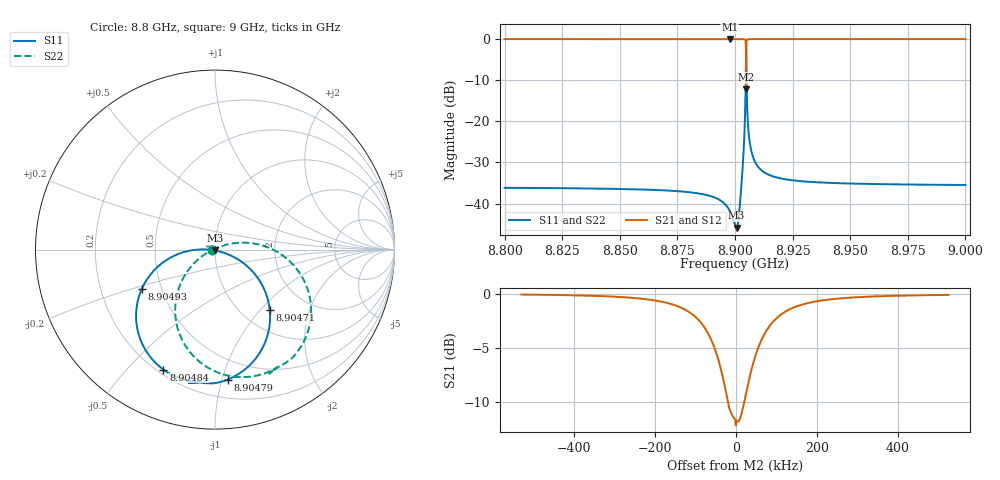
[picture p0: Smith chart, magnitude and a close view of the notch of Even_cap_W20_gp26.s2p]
! Sonnet Data File
! From: emgraph Version : 16.52
! From Project: Resonator2_cp_varyW
! Data is De-embedded
! Data File Written: 10/07/2017 09:25:24
!< HDATE 10/06/2017 17:18:21
!< MDATE 10/06/2017 17:18:21
!< PARAMS
!< gap = 26.0
!< Length = 400.0
!< Pwid1 = 2000.0
!< Pwid2 = 2000.0
!< Air_gap = 12.0
!< Width = 20.0
!< END PARAMS
# GHZ S MA R 51.80000
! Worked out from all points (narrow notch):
!   1595 points, 8.8 GHz to 9 GHz, reference 51.8 ohm
!   highest |S21| = 0.00 dB at 8.89772 GHz (marker M1); lowest = -12.2 dB at 8.90482 GHz (marker M2)
!   notch at M2: 12.2 dB deep, 88.7 kHz wide at half that depth
!   lowest |S11| = -45.9 dB at 8.90066 GHz (marker M3), VSWR 1.01, Z = 51.7 - j0.516 ohm
!   |S11| at or under -10 dB: start of sweep to 8.90464 GHz; 8.90501 GHz to end of sweep
!   |S22| runs from -46.1 to -2.5 dB; largest |S21 - S12| = 0
!   S11 on the Smith chart (normalised r, x): 8.8 GHz: 0.97, -0.01; 8.90471 GHz: 1.33, -1.13; 8.90479 GHz: 0.34, -1.04; 8.90484 GHz: 0.22, -0.63; 8.90493 GHz: 0.39, -0.22; 9 GHz: 0.97, -0.00
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8.8  0.01555 -169.3  0.9999 -80.6  0.9999 -80.6  0.01555 -171.9
!< P1 F=8.8 Eeff=(6.44629866 -2.9719e-5) Z0=(50.907433 1.17455e-4) R=0.0 C=0.0
!< P2 F=8.8 Eeff=(6.44629866 -2.9719e-5) Z0=(50.907433 1.17455e-4) R=0.0 C=0.0
8.8334  0.01529 -169.3  0.9999 -80.9  0.9999 -80.9  0.01529 -172.5
8.8668  0.01457 -168.6  0.9999 -81.3  0.9999 -81.3  0.01457 -173.9
8.897719  0.008187 -151.4  0.9999 -82.0  0.9999 -82.0  0.008157 167.8
8.9  0.005541 -123.5  0.9999 -82.2  0.9999 -82.2  0.005443 139.5
8.900658  0.005092 -101.6  0.9999 -82.3  0.9999 -82.3  0.004947 117.0
8.9018  0.007613 -52.8  0.9998 -82.7  0.9998 -82.7  0.007428 65.9
8.90358  0.03623 -21.2  0.9985 -84.4  0.9985 -84.4  0.036 29.7
8.904358  0.1215 -22.0  0.9866 -89.3  0.9866 -89.3  0.1211 17.6
8.9046  0.2613 -31.7  0.9397 -97.4  0.9397 -97.4  0.2604 5.4
8.904707  0.4545 -47.8  0.8087 -108.8  0.8087 -108.8  0.453 -11.8
8.904791  0.7275 -84.4  0.3579 -115.3  0.3579 -115.3  0.7251 -49.2
8.904817  0.7566 -101.3  0.2456 -78.0  0.2456 -78.0  0.7541 -66.3
8.904841  0.7277 -113.3  0.3387 -52.4  0.3387 -52.4  0.7253 -78.5
8.90493  0.4649 -151.6  0.8042 -55.2  0.8042 -55.2  0.4634 -117.6
8.905062  0.2586 -169.3  0.9455 -67.5  0.9455 -67.5  0.2578 -136.4
8.905303  0.143 -177.6  0.9844 -74.2  0.9844 -74.2  0.1426 -146.5
8.906  0.06887 179.0  0.9967 -78.5  0.9967 -78.5  0.06874 -154.4
8.909  0.03092 -178.7  0.9994 -80.7  0.9994 -80.7  0.03089 -162.4
8.9334  0.01829 -173.2  0.9998 -81.6  0.9998 -81.6  0.01829 -170.1
8.9668  0.01715 -172.5  0.9998 -82.0  0.9998 -82.0  0.01715 -171.6
9  0.01682 -172.4  0.9999 -82.3  0.9999 -82.3  0.01682 -172.3
